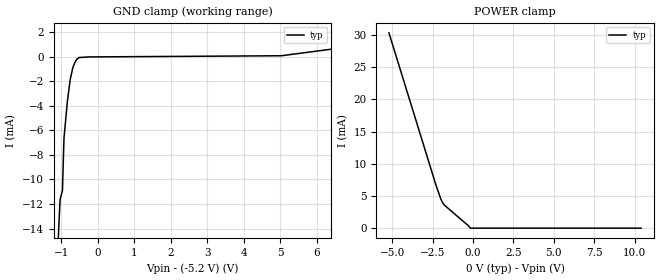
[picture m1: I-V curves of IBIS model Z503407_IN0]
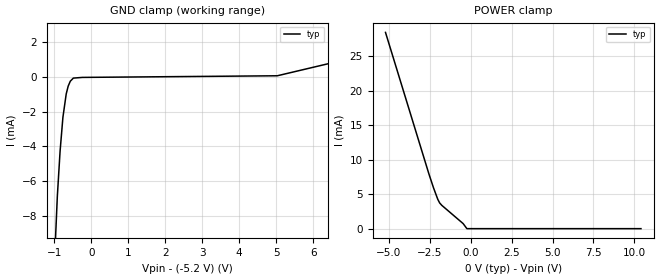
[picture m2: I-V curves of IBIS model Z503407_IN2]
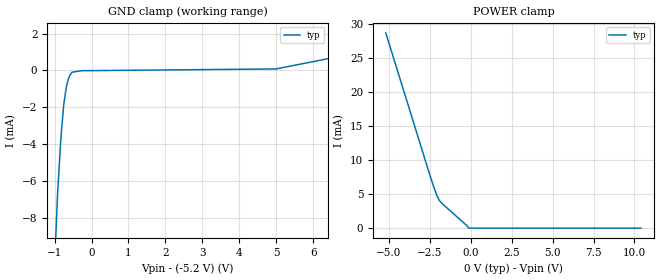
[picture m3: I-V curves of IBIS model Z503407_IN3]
| YOU ARE ONLY AUTHORIZED TO USE THIS SOFTWARE
| ACCORDING TO LICENSOR'S LICENSE RESTRICTIONS.
[IBIS Ver] 3.1
[File Name] mc10e154fn.ibs
[File Rev] 2.0
[Source] Measured and created by ICX Technology
[Date] Friday 7/14/00 9:07:49 AM
[Copyright]
| (C) COPYRIGHT 1993-2000
| MENTOR GRAPHICS CORPORATION
| ICX STANDARD LIBRARY, ICX PROJECT MODELING,
| ICX CUSTOM MODELING, ICX VENDOR MODEL
| ALL RIGHTS RESERVED.
| THE FOLLOWING ARE TRADEMARKS OR SERVICE MARKS OF
| MENTOR GRAPHICS CORPORATION:ICX (R), ICX STANDARD
| LIBRARY(R), ICX PROJECT MODELING(R), ICX CUSTOM
| MODELING(R), qualityIBIS(TM), MODELVIEWER(TM),
| AND MODELEDITOR(TM)
| ALL COPIES OF SOFTWARE, INCLUDING BUT NOT LIMITED TO
| ANY MODIFICATIONS, ENHANCEMENTS OR DERIVATIVE WORKS,
| MUST CONTAIN ALL MENTOR GRAPHICS CORPORATION'S
| NOTICES AND LEGENDS, INCLUDING THOSE EMBEDDED IN
| SOFTWARE AND THOSE AFFIXED TO SOFTWARE MEDIUM
| AND CONTAINER, AS RECEIVED FROM MENTOR GRAPHICS
| CORPORATION.
|  ZAP Model Builder 2.7
[Component] MC10E154FN
[Manufacturer] OnSemiconductor
[Package]
| variable   typ   min   max
R_pkg  .083ohms NA NA
L_pkg  4.299nH NA NA
C_pkg  1.045pF NA NA
[Pin] signal_name  model_name  R_pin  L_pin C_pin
1 VEE POWER .08 3.94n .925p
2 MR Z503407_IN0 .082 4.14n .995p
3 D0A Z503407_IN1 .084 4.354n 1.065p
4 D0B Z503407_IN1 .086 4.583n 1.135p
5 D1A Z503407_IN1 .086 4.583n 1.135p
6 D1B Z503407_IN1 .084 4.354n 1.065p
7 D2A Z503407_IN1 .082 4.14n .995p
8 D2B Z503407_IN1 .08 3.94n .925p
9 VCCO POWER .082 4.14n .995p
10 Q0 Z503407_OUT0 .084 4.354n 1.065p
11 _Q0 Z503407_OUT1 .086 4.583n 1.135p
12 Q1 Z503407_OUT0 .086 4.583n 1.135p
13 _Q1 Z503407_OUT1 .084 4.354n 1.065p
14 Q2 Z503407_OUT0 .082 4.14n .995p
15 _Q2 Z503407_OUT1 .08 3.94n .925p
16 VCC POWER .082 4.14n .995p
17 Q3 Z503407_OUT0 .084 4.354n 1.065p
18 _Q3 Z503407_OUT1 .086 4.583n 1.135p
19 Q4 Z503407_OUT0 .086 4.583n 1.135p
20 _Q4 Z503407_OUT1 .084 4.354n 1.065p
21 VCCO POWER .082 4.14n .995p
22 D3A Z503407_IN1 .08 3.94n .925p
23 D3B Z503407_IN1 .082 4.14n .995p
24 D4A Z503407_IN1 .084 4.354n 1.065p
25 D4B Z503407_IN1 .086 4.583n 1.135p
26 SEL Z503407_IN2 .086 4.583n 1.135p
27 LEN1 Z503407_IN3 .084 4.354n 1.065p
28 LEN2 Z503407_IN3 .082 4.14n .995p
| Models and submodels in the file (6): Z503407_IN0 (Input_ECL), Z503407_IN1 (Input_ECL), Z503407_IN2 (Input_ECL), Z503407_IN3 (Input_ECL), Z503407_OUT0 (Output_ECL), Z503407_OUT1 (Output_ECL)
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| (C) COPYRIGHT 1993-2000
| MENTOR GRAPHICS CORPORATION
| ICX STANDARD LIBRARY, ICX PROJECT MODELING,
| ICX CUSTOM MODELING, ICX VENDOR MODEL
| ALL RIGHTS RESERVED.
| THE FOLLOWING ARE TRADEMARKS OR SERVICE MARKS OF
| MENTOR GRAPHICS CORPORATION:ICX (R), ICX STANDARD
| LIBRARY(R), ICX PROJECT MODELING(R), ICX CUSTOM
| MODELING(R), qualityIBIS(TM), MODELVIEWER(TM),
| AND MODELEDITOR(TM)
| ALL COPIES OF SOFTWARE, INCLUDING BUT NOT LIMITED TO
| ANY MODIFICATIONS, ENHANCEMENTS OR DERIVATIVE WORKS,
| MUST CONTAIN ALL MENTOR GRAPHICS CORPORATION'S
| NOTICES AND LEGENDS, INCLUDING THOSE EMBEDDED IN
| SOFTWARE AND THOSE AFFIXED TO SOFTWARE MEDIUM
| AND CONTAINER, AS RECEIVED FROM MENTOR GRAPHICS
| CORPORATION.
| Model Application Version 1.89 2/18/99.
[Model] Z503407_IN0
Model_type Input_ECL
Vinl = -1.480V
Vinh = -1.130V
C_comp 4.000pF NA NA
| variable typ   min   max
[Voltage Range] -5.200V NA NA
[GND Clamp Reference] -5.200V NA NA
[POWER Clamp Reference] 0.000V NA NA
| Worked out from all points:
|   GND clamp passes 1 mA (typ) near -0.69 V on its own axis
[GND Clamp]
-5.2V     -291.7mA   NA         NA
-1.04V    -12.28mA   NA         NA
-1.026V   -11.59mA   NA         NA
-964mV    -10.92mA   NA         NA
-922mV    -6.659mA   NA         NA
-830mV    -3.679mA   NA         NA
-751mV    -1.859mA   NA         NA
-679mV    -892.1uA   NA         NA
-625mV    -468.4uA   NA         NA
-505mV    -68.89uA   NA         NA
5.03V     76.31uA    NA         NA
10.4V     2.166mA    NA         NA
[POWER Clamp]
-5.2V     30.34mA    NA         NA
-2.285V   6.646mA    NA         NA
-2.045V   4.907mA    NA         NA
-1.973V   4.43mA     NA         NA
-1.875V   3.927mA    NA         NA
-1.763V   3.568mA    NA         NA
-947.2mV  1.8mA      NA         NA
-323.6mV  463.3uA    NA         NA
-161.8mV  0A         NA         NA
10.4V     0A         NA         NA
| (C) COPYRIGHT 1993-2000
| MENTOR GRAPHICS CORPORATION
| ICX STANDARD LIBRARY, ICX PROJECT MODELING,
| ICX CUSTOM MODELING, ICX VENDOR MODEL
| ALL RIGHTS RESERVED.
| THE FOLLOWING ARE TRADEMARKS OR SERVICE MARKS OF
| MENTOR GRAPHICS CORPORATION:ICX (R), ICX STANDARD
| LIBRARY(R), ICX PROJECT MODELING(R), ICX CUSTOM
| MODELING(R), qualityIBIS(TM), MODELVIEWER(TM),
| AND MODELEDITOR(TM)
| ALL COPIES OF SOFTWARE, INCLUDING BUT NOT LIMITED TO
| ANY MODIFICATIONS, ENHANCEMENTS OR DERIVATIVE WORKS,
| MUST CONTAIN ALL MENTOR GRAPHICS CORPORATION'S
| NOTICES AND LEGENDS, INCLUDING THOSE EMBEDDED IN
| SOFTWARE AND THOSE AFFIXED TO SOFTWARE MEDIUM
| AND CONTAINER, AS RECEIVED FROM MENTOR GRAPHICS
| CORPORATION.
| Model Application Version 1.89 2/18/99.
[Model] Z503407_IN2
Model_type Input_ECL
Vinl = -1.480V
Vinh = -1.130V
C_comp 4.000pF NA NA
| variable typ   min   max
[Voltage Range] -5.200V NA NA
[GND Clamp Reference] -5.200V NA NA
[POWER Clamp Reference] 0.000V NA NA
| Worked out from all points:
|   GND clamp passes 1 mA (typ) near -0.68 V on its own axis
[GND Clamp]
-5.2V     -303.8mA   NA         NA
-1.064V   -14.05mA   NA         NA
-918mV    -6.879mA   NA         NA
-844mV    -4.286mA   NA         NA
-767mV    -2.318mA   NA         NA
-678mV    -974.8uA   NA         NA
-624mV    -519.5uA   NA         NA
-567mV    -238.3uA   NA         NA
-485mV    -60.01uA   NA         NA
-242.5mV  -19.36uA   NA         NA
5.03V     74.65uA    NA         NA
10.4V     2.782mA    NA         NA
[POWER Clamp]
-5.2V     28.49mA    NA         NA
-2.549V   7.946mA    NA         NA
-2.27V    5.943mA    NA         NA
-2.01V    4.276mA    NA         NA
-1.895V   3.742mA    NA         NA
-1.763V   3.387mA    NA         NA
-458.8mV  735.5uA    NA         NA
-229.4mV  0A         NA         NA
10.4V     0A         NA         NA
| (C) COPYRIGHT 1993-2000
| MENTOR GRAPHICS CORPORATION
| ICX STANDARD LIBRARY, ICX PROJECT MODELING,
| ICX CUSTOM MODELING, ICX VENDOR MODEL
| ALL RIGHTS RESERVED.
| THE FOLLOWING ARE TRADEMARKS OR SERVICE MARKS OF
| MENTOR GRAPHICS CORPORATION:ICX (R), ICX STANDARD
| LIBRARY(R), ICX PROJECT MODELING(R), ICX CUSTOM
| MODELING(R), qualityIBIS(TM), MODELVIEWER(TM),
| AND MODELEDITOR(TM)
| ALL COPIES OF SOFTWARE, INCLUDING BUT NOT LIMITED TO
| ANY MODIFICATIONS, ENHANCEMENTS OR DERIVATIVE WORKS,
| MUST CONTAIN ALL MENTOR GRAPHICS CORPORATION'S
| NOTICES AND LEGENDS, INCLUDING THOSE EMBEDDED IN
| SOFTWARE AND THOSE AFFIXED TO SOFTWARE MEDIUM
| AND CONTAINER, AS RECEIVED FROM MENTOR GRAPHICS
| CORPORATION.
| Model Application Version 1.89 2/18/99.
[Model] Z503407_IN3
Model_type Input_ECL
Vinl = -1.480V
Vinh = -1.130V
C_comp 4.000pF NA NA
| variable typ   min   max
[Voltage Range] -5.200V NA NA
[GND Clamp Reference] -5.200V NA NA
[POWER Clamp Reference] 0.000V NA NA
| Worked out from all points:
|   GND clamp passes 1 mA (typ) near -0.69 V on its own axis
[GND Clamp]
-5.2V     -292.4mA   NA         NA
-1.067V   -13.81mA   NA         NA
-920mV    -6.735mA   NA         NA
-830mV    -3.69mA    NA         NA
-751mV    -1.844mA   NA         NA
-679mV    -869.6uA   NA         NA
-625mV    -453.7uA   NA         NA
-586mV    -269.4uA   NA         NA
-525mV    -98.48uA   NA         NA
-262.5mV  -20uA      NA         NA
4.991V    75.35uA    NA         NA
10.4V     2.215mA    NA         NA
[POWER Clamp]
-5.2V     28.76mA    NA         NA
-2.51V    7.853mA    NA         NA
-2.234V   5.848mA    NA         NA
-2.084V   4.859mA    NA         NA
-1.932V   4.098mA    NA         NA
-1.762V   3.634mA    NA         NA
-537.2mV  1.002mA    NA         NA
-243.7mV  384.3uA    NA         NA
-121.8mV  0A         NA         NA
10.4V     0A         NA         NA
